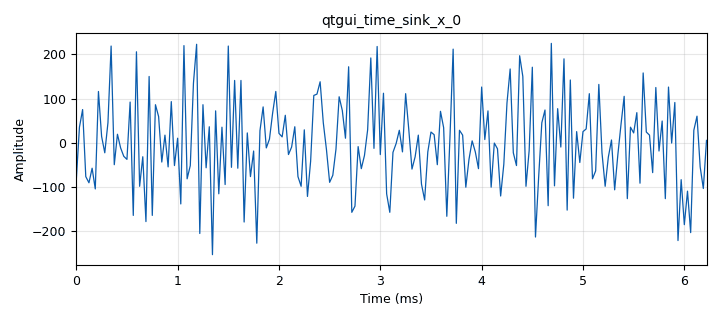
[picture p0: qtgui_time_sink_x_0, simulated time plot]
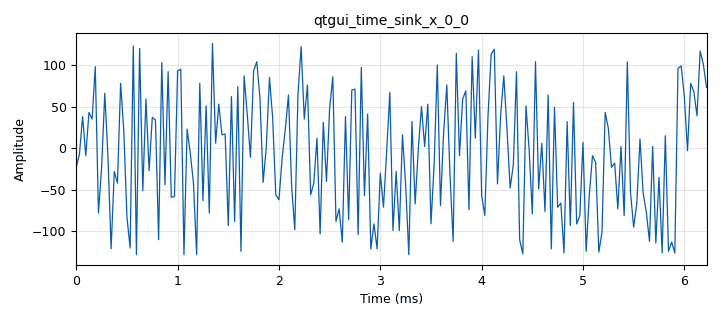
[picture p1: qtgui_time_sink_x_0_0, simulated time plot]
options:
  parameters:
    author: Hvozda Martin
    generate_options: qt_gui
    id: FirstFlowGraph
    output_language: python
    title: Starting point of semestral
  states: {}

blocks:
- name: delay
  id: variable_qtgui_range
  parameters:
    label: manual delay
    rangeType: int
    start: '0'
    step: '1'
    stop: '10'
    value: '0'
  states: {}
- name: samp_rate
  id: variable
  parameters:
    value: '32000'
  states: {}
- name: analog_random_source_x_0
  id: analog_random_source_x
  parameters:
    max: '256'
    min: '0'
    num_samps: '1000'
    repeat: 'True'
    type: byte
  states: {}
- name: blocks_char_to_float_0
  id: blocks_char_to_float
  parameters:
    scale: '1'
  states: {}
- name: blocks_char_to_float_1
  id: blocks_char_to_float
  parameters:
    scale: '1'
  states: {}
- name: blocks_delay_0
  id: blocks_delay
  parameters:
    delay: delay
    type: byte
  states: {}
- name: blocks_delay_1
  id: blocks_delay
  parameters:
    delay: '5'
    type: byte
  states: {}
- name: blocks_throttle_0
  id: blocks_throttle
  parameters:
    samples_per_second: samp_rate
    type: float
  states: {}
- name: epy_block_0
  id: epy_block
  parameters:
    _source_code: |
      """
      Embedded Python Blocks:

      Each time this file is saved, GRC will instantiate the first class it finds
      to get ports and parameters of your block. The arguments to __init__  will
      be the parameters. All of them are required to have default values!
      """

      import numpy as np
      from gnuradio import gr


      class blk(gr.sync_block):  # other base classes are basic_block, decim_block, interp_block
          """Embedded Python Block example - a simple multiply const"""

          def __init__(self):  # only default arguments here
              """arguments to this function show up as parameters in GRC"""
              gr.sync_block.__init__(
                  self,
                  name='Custom Subtract Block',   # so we may modify it if needed
                  in_sig=[np.float32, np.float32],
                  out_sig=[np.float32]
              )

          def work(self, input_items, output_items):
              """example: multiply with constant"""
              output_items[0][:] = input_items[0] - input_items[1]
              return len(output_items[0])
  states: {}
- name: qtgui_time_sink_x_0
  id: qtgui_time_sink_x
  parameters:
    autoscale: 'True'
    size: '200'
    srate: samp_rate
    type: float
  states: {}
- name: qtgui_time_sink_x_0_0
  id: qtgui_time_sink_x
  parameters:
    autoscale: 'True'
    size: '200'
    srate: samp_rate
    type: float
  states: {}

connections:
- [analog_random_source_x_0, '0', blocks_delay_0, '0']
- [analog_random_source_x_0, '0', blocks_delay_1, '0']
- [blocks_char_to_float_0, '0', epy_block_0, '0']
- [blocks_char_to_float_1, '0', epy_block_0, '1']
- [blocks_char_to_float_1, '0', qtgui_time_sink_x_0_0, '0']
- [blocks_delay_0, '0', blocks_char_to_float_1, '0']
- [blocks_delay_1, '0', blocks_char_to_float_0, '0']
- [blocks_throttle_0, '0', qtgui_time_sink_x_0, '0']
- [epy_block_0, '0', blocks_throttle_0, '0']

metadata:
  file_format: 1
